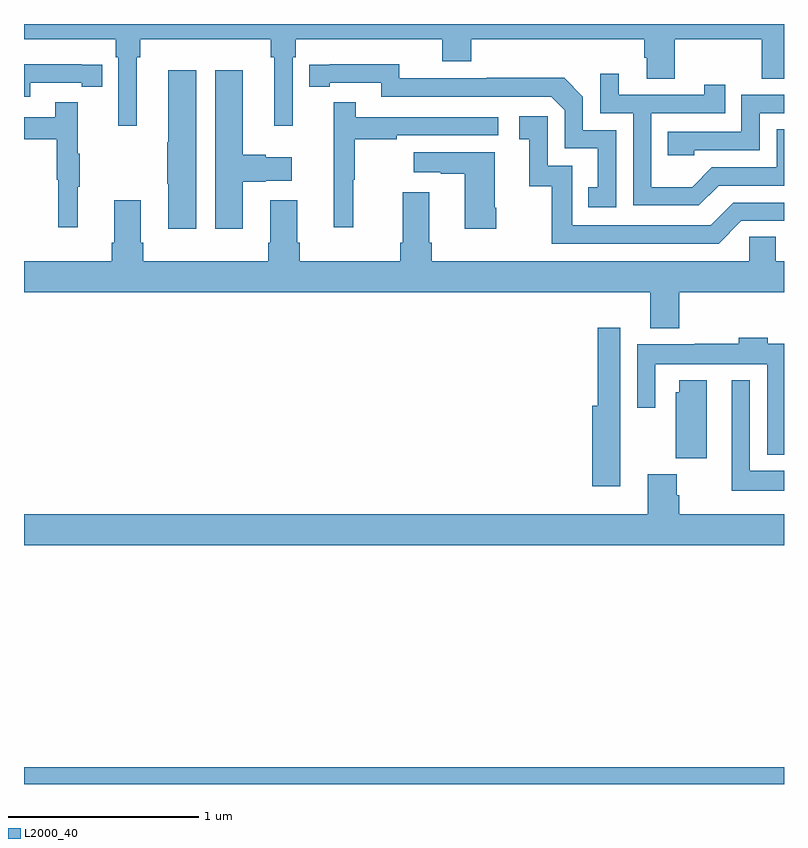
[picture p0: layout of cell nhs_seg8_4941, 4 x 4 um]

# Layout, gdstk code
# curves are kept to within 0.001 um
import gdstk
lib = gdstk.Library(unit=1e-6, precision=1e-09)
def R(c, l, rs):  # rectangles x0, y0, x1, y1
    for r in rs: c.add(gdstk.rectangle(r[:2], r[2:], *l))
def P(c, l, *ps):  # polygons
    for p in ps: c.add(gdstk.Polygon(p, *l))
L2000_40 = (2000, 40)

nhs_seg8_4941 = lib.new_cell('nhs_seg8_4941')
R(nhs_seg8_4941, L2000_40, [(409,1125.9,413,1125.988)])
P(nhs_seg8_4941, L2000_40, [(409.594,1129.724),(409.613,1129.724),(409.613,1129.82),(410.299,1129.82),(410.299,1129.724),(410.318,1129.724),(410.318,1129.365),(410.415,1129.365),(410.415,1129.724),(410.429,1129.724),(410.429,1129.82),(411.2,1129.82),(411.2,1129.703),(411.353,1129.703),(411.353,1129.82),(412.265,1129.82),(412.265,1129.722),(412.277,1129.722),(412.277,1129.612),(412.425,1129.612),(412.425,1129.82),(412.882,1129.82),(412.882,1129.612),(413,1129.612),(413,1129.9),(409,1129.9),(409,1129.82),(409.484,1129.82),(409.484,1129.724),(409.497,1129.724),(409.497,1129.365),(409.594,1129.365)],
  [(409.032,1129.59),(409.304,1129.59),(409.304,1129.57),(409.412,1129.57),(409.412,1129.686),(409.304,1129.686),(409.304,1129.687),(409,1129.687),(409,1129.518),(409.032,1129.518)],
  [(412.116,1129.341),(411.942,1129.341),(411.942,1129.518),(411.844,1129.616),(411.436,1129.616),(411.436,1129.614),(410.976,1129.614),(410.976,1129.687),(410.5,1129.686),(410.5,1129.57),(410.608,1129.57),(410.608,1129.59),(410.88,1129.59),(410.88,1129.518),(411.774,1129.518),(411.846,1129.446),(411.846,1129.245),(412.019,1129.245),(412.019,1129.041),(411.97,1129.041),(411.97,1128.936),(412.116,1128.936)],
  [(410.152,1129.069),(410.273,1129.069),(410.273,1129.076),(410.41,1129.076),(410.41,1129.198),(410.273,1129.198),(410.273,1129.211),(410.152,1129.211),(410.152,1129.657),(410.006,1129.657),(410.006,1128.822),(410.152,1128.822)],
  [(409.906,1129.657),(409.76,1129.657),(409.76,1129.277),(409.753,1129.277),(409.753,1129.06),(409.76,1129.06),(409.76,1128.822),(409.906,1128.822)],
  [(412.657,1129.05),(413,1129.05),(413,1129.345),(412.962,1129.345),(412.962,1129.146),(412.62,1129.146),(412.516,1129.042),(412.302,1129.042),(412.302,1129.431),(412.691,1129.431),(412.691,1129.579),(412.58,1129.579),(412.58,1129.527),(412.129,1129.527),(412.129,1129.639),(412.032,1129.639),(412.032,1129.431),(412.206,1129.431),(412.206,1128.945),(412.552,1128.945)],
  [(412.527,1129.236),(412.872,1129.236),(412.872,1129.431),(413,1129.431),(413,1129.527),(412.776,1129.527),(412.776,1129.332),(412.387,1129.332),(412.387,1129.209),(412.527,1129.209)],
  [(409.283,1129.043),(409.294,1129.043),(409.294,1129.217),(409.283,1129.217),(409.283,1129.489),(409.165,1129.489),(409.165,1129.41),(409,1129.41),(409,1129.294),(409.173,1129.294),(409.173,1129.08),(409.18,1129.08),(409.18,1128.831),(409.283,1128.831)],
  [(410.732,1129.08),(410.74,1129.08),(410.74,1129.294),(410.963,1129.294),(410.963,1129.314),(411.496,1129.314),(411.496,1129.41),(410.747,1129.41),(410.747,1129.489),(410.63,1129.489),(410.63,1129.217),(410.629,1129.217),(410.629,1128.831),(410.732,1128.831)],
  [(412.776,1128.864),(413,1128.864),(413,1128.96),(412.734,1128.96),(412.614,1128.84),(411.885,1128.84),(411.885,1129.155),(411.756,1129.155),(411.756,1129.414),(411.606,1129.414),(411.606,1129.293),(411.659,1129.293),(411.659,1129.047),(411.777,1129.047),(411.777,1128.744),(412.656,1128.744)],
  [(411.486,1128.934),(411.478,1128.934),(411.478,1129.225),(411.051,1129.225),(411.051,1129.121),(411.194,1129.121),(411.194,1129.111),(411.32,1129.111),(411.32,1128.822),(411.486,1128.822)],
  [(412.448,1128.488),(413,1128.488),(413,1128.652),(412.957,1128.652),(412.957,1128.779),(412.818,1128.779),(412.818,1128.652),(411.146,1128.652),(411.146,1128.748),(411.133,1128.748),(411.133,1129.015),(410.993,1129.015),(410.993,1128.748),(410.981,1128.748),(410.981,1128.652),(410.45,1128.652),(410.45,1128.748),(410.437,1128.748),(410.437,1128.973),(410.297,1128.973),(410.297,1128.748),(410.285,1128.748),(410.285,1128.652),(409.628,1128.652),(409.628,1128.748),(409.615,1128.748),(409.615,1128.973),(409.475,1128.973),(409.475,1128.748),(409.463,1128.748),(409.463,1128.652),(409,1128.652),(409,1128.488),(412.295,1128.488),(412.295,1128.299),(412.448,1128.299)],
  [(412.138,1127.786),(412.137,1127.786),(412.137,1128.301),(412.021,1128.301),(412.021,1127.89),(411.992,1127.89),(411.992,1127.466),(412.138,1127.466)],
  [(413,1128.217),(412.915,1128.217),(412.915,1128.25),(412.763,1128.25),(412.763,1128.217),(412.531,1128.217),(412.531,1128.214),(412.227,1128.214),(412.227,1127.88),(412.323,1127.88),(412.323,1128.11),(412.911,1128.11),(412.911,1127.633),(413,1127.633)],
  [(412.594,1128.025),(412.448,1128.025),(412.448,1127.961),(412.43,1127.961),(412.43,1127.614),(412.594,1127.614)],
  [(413,1127.548),(412.821,1127.548),(412.821,1128.025),(412.724,1128.025),(412.724,1127.444),(413,1127.444)],
  [(413,1127.32),(412.448,1127.32),(412.448,1127.42),(412.435,1127.42),(412.435,1127.529),(412.283,1127.529),(412.283,1127.32),(409,1127.32),(409,1127.156),(413,1127.156)])

lib.write_gds('nhs_seg8_4941.gds')
